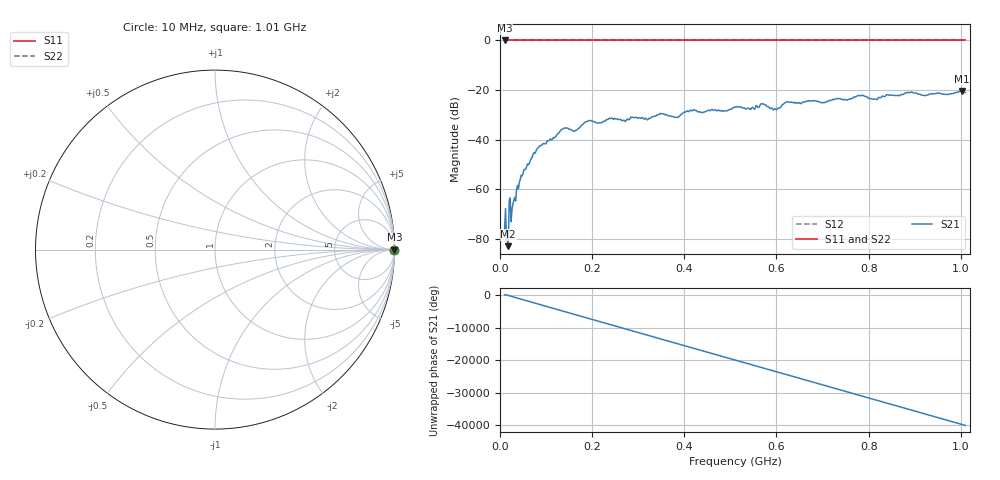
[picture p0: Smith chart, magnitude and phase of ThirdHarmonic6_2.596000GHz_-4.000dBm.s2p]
! 8/17/2025 5:35:21 AM
! C:\ANRITSUVNA\TEMP\TEMP.S2P
! CHANNEL.1
! TR.MEASUREMENT
! RAW.DATA
! RF.CORRECTION.OFF
! AVERAGING.OFF
! IF.BANDWIDTH: 5KHZ
! SWEEPTYPE:  FREQ.SWEEP(Linear)
! Reference Plane Port Info
! PORT:  PORT1  PORT2
! DISTANCE:  0  m  0  m
! TIME:  0  s  0  s
! PHASE.OFFSET:  0  deg.  0  deg.
! LOSS:  0  dB  0  dB
! REF.LOSS:  0  dB  0  dB
! REF.FREQ:  0  Hz  0  Hz
! Power Info
! POWER:  -20  dBm  -20  dBm
! EFF.POWER:  -20  dBm  -20  dBm
! SOURCE.ATTEN:  0  dB  0  dB
! TEST.ATTEN:  0  dB  0  dB
# GHZ S RI R 50.0
! FREQ.GHZ  S11RE  S11IM  S21RE  S21IM  S12RE  S12IM  S22RE  S22IM
!; PortSelection: Port_12
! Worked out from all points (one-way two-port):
!   501 points, 10 MHz to 1.01 GHz, reference 50 ohm
!   highest |S21| = -20.34 dB at 1.002 GHz (marker M1); lowest = -82.9 dB at 18 MHz (marker M2)
!   lowest |S11| = 0.0 dB at 10 MHz (marker M3)
!   |S11| at or under -10 dB: nowhere
!   |S22| runs from 0.0 to 0.0 dB; largest |S21 - S12| = 1.1
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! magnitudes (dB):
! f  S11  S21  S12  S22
! 10 MHz  0.0  -76.0  0.0  0.0
! 14 MHz  0.0  -79.6  0.0  0.0
! 18 MHz  0.0  -82.9  0.0  0.0
! 24 MHz  0.0  -73.0  0.0  0.0
! 28 MHz  0.0  -66.0  0.0  0.0
! 48 MHz  0.0  -54.5  0.0  0.0
! 82 MHz  0.0  -43.5  0.0  0.0
! 136 MHz  0.0  -35.7  0.0  0.0
! 162 MHz  0.0  -36.5  0.0  0.0
! 178 MHz  0.0  -34.0  0.0  0.0
! 194 MHz  0.0  -32.3  0.0  0.0
! 344 MHz  0.0  -29.9  0.0  0.0
! 384 MHz  0.0  -30.9  0.0  0.0
! 416 MHz  0.0  -28.3  0.0  0.0
! 510 MHz  0.0  -26.9  0.0  0.0
! 570 MHz  0.0  -25.5  0.0  0.0
! 596 MHz  0.0  -27.5  0.0  0.0
! 622 MHz  0.0  -24.8  0.0  0.0
! 678 MHz  0.0  -24.3  0.0  0.0
! 844 MHz  0.0  -22.0  0.0  0.0
! 1.002 GHz  0.0  -20.3  0.0  0.0
! 1.01 GHz  0.0  -20.9  0.0  0.0
